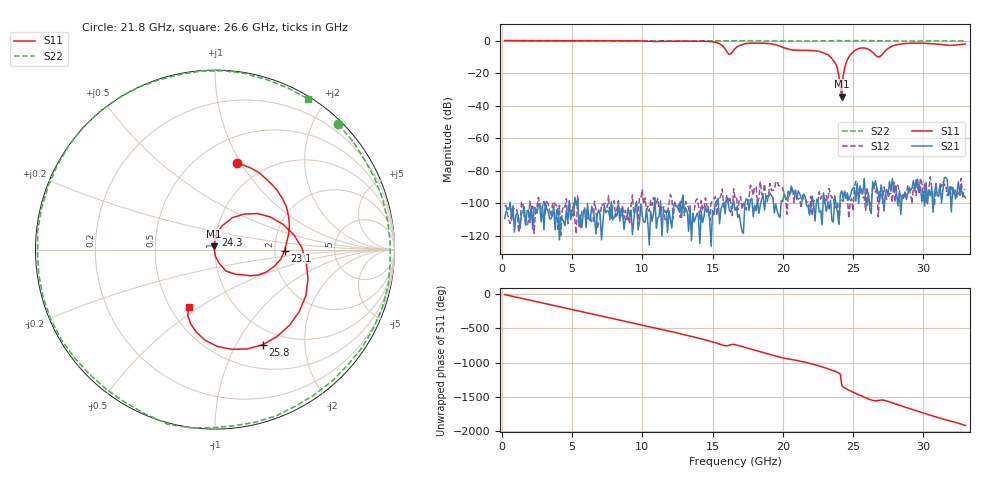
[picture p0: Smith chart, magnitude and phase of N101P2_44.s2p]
# GHZ S RI R 50
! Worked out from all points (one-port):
!   329 points, 200 MHz to 33 GHz, reference 50 ohm
!   lowest |S11| = -34.3 dB at 24.2 GHz (marker M1), VSWR 1.04, Z = 49.4 + j1.8 ohm
!   |S11| at or under -10 dB: 23.39 GHz to 24.71 GHz (1.326 GHz wide, 5.51 % of centre); 26.79326 GHz to 26.81321 GHz (19.95 MHz wide, 0.0744 % of centre)
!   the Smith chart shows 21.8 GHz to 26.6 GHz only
!   S11 on the Smith chart (normalised r, x): 21.8 GHz: 0.75, +0.96; 23.1 GHz: 2.27, -0.03; 24.3 GHz: 0.99, +0.16; 25.8 GHz: 0.79, -1.29; 26.6 GHz: 0.62, -0.46
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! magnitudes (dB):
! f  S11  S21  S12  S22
! 200 MHz  0.0  -109.3  -101.8  0.0
! 5.7 GHz  0.0  -114.9  -104.7  0.0
! 11.2 GHz  -0.6  -107.9  -103.6  -0.1
! 15.1 GHz  -0.9  -106.9  -97.4  0.0
! 16.2 GHz  -8.5  -104.1  -95.8  -0.1
! 16.6 GHz  -5.0  -104.3  -96.4  -0.1
! 18.4 GHz  -1.5  -101.2  -86.4  -0.2
! 21.8 GHz  -6.0  -101.5  -99.0  -0.2
! 22.1 GHz  -6.1  -95.6  -107.4  -0.2
! 23.1 GHz  -8.2  -104.9  -95.2  -0.2
! 23.8 GHz  -15.0  -100.7  -102.0  0.0
! 24 GHz  -21.9  -113.0  -113.5  -0.1
! 24.2 GHz  -34.3  -92.2  -98.0  -0.1
! 24.3 GHz  -21.7  -97.5  -98.7  -0.1
! 24.5 GHz  -13.9  -97.2  -95.0  -0.1
! 24.8 GHz  -8.9  -95.8  -98.8  -0.1
! 25.8 GHz  -4.5  -84.7  -96.0  0.0
! 26.6 GHz  -9.0  -86.0  -93.1  -0.1
! 26.9 GHz  -9.9  -98.9  -91.8  -0.2
! 27.6 GHz  -4.3  -86.4  -93.9  -0.2
! 29 GHz  -1.6  -90.0  -91.6  -0.3
! 33 GHz  -2.1  -96.5  -91.4  -0.2
